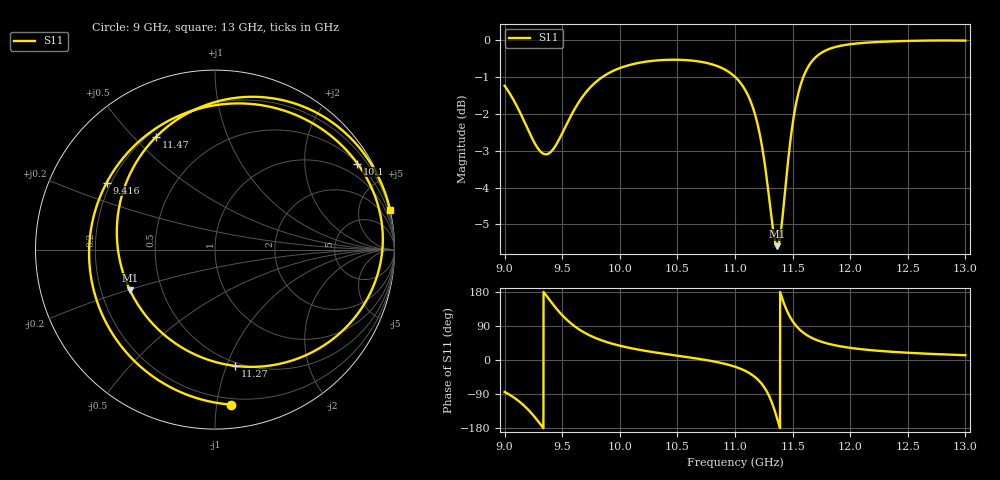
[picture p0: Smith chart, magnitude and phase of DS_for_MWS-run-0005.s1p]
! TOUCHSTONE file generated by CST DESIGN STUDIO
! Date and time: Tue Jan 28 13:35:08 2025
! Project name: C:\Work\MatlabApps\UnitCellOptimizationMatlabNew\CST\unitcell.cst
! Tree item: Tasks\Sweep1\SPara1\S-Parameters
! Header version: 2024
! Port assignment regex: !\s*Touchstone port\s*([0-9]+)\s*=\s*(CST MWS port|CST DES external port|CST DES block port)\s*(.+)\s* \(\"(.*)\"\)(\s*mode\s*([0-9]+))?.*
! Touchstone port assignment:
! Touchstone port 1 = CST DES external port 1 ("")
# GHz S MA R 50
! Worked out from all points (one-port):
!   4001 points, 9 GHz to 13 GHz, reference 50 ohm
!   lowest |S11| = -5.6 dB at 11.37 GHz (marker M1), VSWR 3.21, Z = 16.3 - j10.2 ohm
!   |S11| at or under -10 dB: nowhere
!   S11 on the Smith chart (normalised r, x): 9 GHz: 0.16, -1.09; 9.416 GHz: 0.18, +0.28; 10.1 GHz: 0.52, +3.52; 11.27 GHz: 0.47, -1.07; 11.47 GHz: 0.23, +0.58; 13 GHz: 0.02, +9.03
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9  0.8678 -84.3
9.105  0.815 -104.3
9.194  0.762 -127.9
9.312  0.706 -169.8
9.416  0.7096 148.3
9.5  0.7477 118.3
9.603  0.8041 90.1
9.738  0.8615 65.0
9.858  0.8939 50.1
10  0.9172 37.7
10.097  0.9272 31.1
10.5  0.9414 11.4
10.801  0.928 -2.9
11  0.8923 -17.8
11.157  0.8091 -41.1
11.216  0.7444 -57.2
11.271  0.6571 -80.3
11.319  0.57 -111.5
11.366  0.5252 -154.5
11.415  0.5801 157.8
11.471  0.7093 117.4
11.5  0.7698 102.6
11.591  0.89 72.6
11.689  0.9451 55.2
11.818  0.9738 42.3
12  0.9883 32.1
12.5  0.9986 19.1
13  0.9996 12.6
